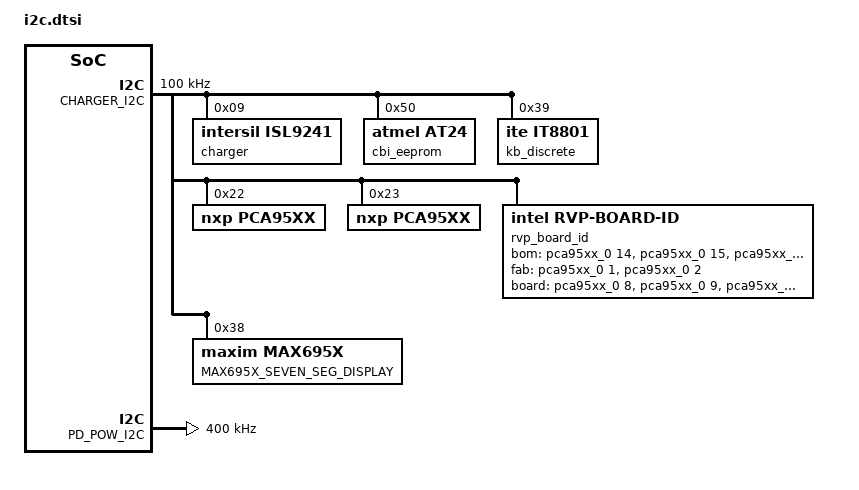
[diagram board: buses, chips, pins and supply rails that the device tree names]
/* Copyright 2024 The ChromiumOS Authors
 * Use of this source code is governed by a BSD-style license that can be
 * found in the LICENSE file.
 */

/ {
	named-i2c-ports {
		compatible = "named-i2c-ports";

		i2c_charger: charger {
			i2c-port = <&CHARGER_I2C>;
			enum-names = "I2C_PORT_CHARGER",
				"I2C_PORT_BATTERY",
				"I2C_PORT_KB_DISCRETE",
				"I2C_PORT_PORT80",
				"I2C_PORT_EEPROM",
				"I2C_PORT_RAA2250";
		};
		ec_pd_power: typec-aic1-power {
			i2c-port = <&PD_POW_I2C>;
			enum-names = "I2C_PORT_TYPEC_AIC_1";
		};
	};
};

/* charger */
&CHARGER_I2C {
	label = "I2C_CHARGER";
	clock-frequency = <I2C_BITRATE_STANDARD>;
	status = "okay";

	charger: raa489@9 {
		compatible = "intersil,isl9241";
		status = "okay";
		reg = <0x9>;
	};
	cbi_eeprom: eeprom@50 {
		compatible = "atmel,at24";
		reg = <0x50>;
		size = <2048>;
		pagesize = <16>;
		address-width = <8>;
		timeout = <5>;
	};
	kb_discrete: ite-it8801@39 {
		compatible = "ite,it8801";
		reg = <0x39>;
	};
	pca95xx_0: pca95xx@22 {
		compatible = "nxp,pca95xx";
		label = "PCA95XX";
		reg = <0x22>;
		gpio-controller;
		#gpio-cells = <2>;
		ngpios = <16>;
	};
	pca95xx_1: pca95xx@23 {
		compatible = "nxp,pca95xx";
		label = "PCA95XX";
		reg = <0x23>;
		gpio-controller;
		#gpio-cells = <2>;
		ngpios = <16>;
	};
	rvp_board_id: rvp-board-id {
		compatible = "intel,rvp-board-id";
		bom-gpios = <&pca95xx_0 14 0>, <&pca95xx_0 15 0>,
			    <&pca95xx_0 0 0>;

		fab-gpios = <&pca95xx_0 1 0>, <&pca95xx_0 2 0>;

		board-gpios = <&pca95xx_0 8 0>, <&pca95xx_0 9 0>,
			      <&pca95xx_0 10 0>, <&pca95xx_0 11 0>,
			      <&pca95xx_0 12 0>, <&pca95xx_0 13 0>;
	};
	seven_seg_display: max695x-seven-seg-display@38 {
		compatible = "maxim,max695x";
		reg = <0x38>;
		label = "MAX695X_SEVEN_SEG_DISPLAY";
	};
};

/* typec-aic1-power */
&PD_POW_I2C {
	label = "I2C_PD_POWER";
	clock-frequency = <I2C_BITRATE_FAST>;
	status = "okay";
};
